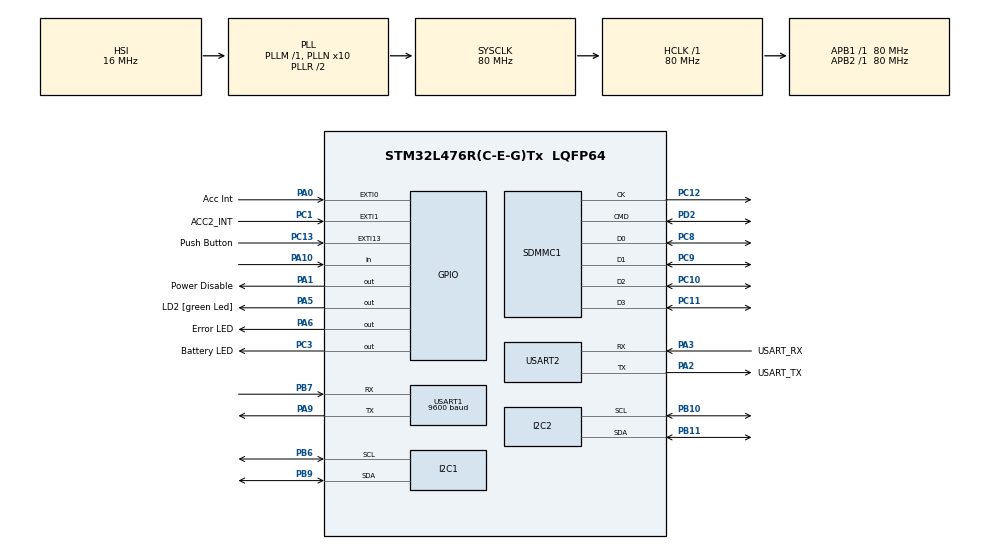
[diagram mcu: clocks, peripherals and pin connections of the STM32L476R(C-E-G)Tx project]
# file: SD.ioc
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ADC1.Channel-1\#ChannelRegularConversion=ADC_CHANNEL_VBAT
ADC1.ClockPrescaler=ADC_CLOCK_ASYNC_DIV1
ADC1.NbrOfConversion=1
ADC1.NbrOfConversionFlag=1
ADC1.OffsetNumber-1\#ChannelRegularConversion=ADC_OFFSET_NONE
ADC1.Rank-1\#ChannelRegularConversion=1
ADC1.SamplingTime-1\#ChannelRegularConversion=ADC_SAMPLETIME_640CYCLES_5
ADC1.master=1
Dma.Request0=SDMMC1_RX
Dma.Request1=SDMMC1_TX
Dma.SDMMC1_RX.0.Direction=DMA_PERIPH_TO_MEMORY
Dma.SDMMC1_RX.0.Instance=DMA2_Channel5
Dma.SDMMC1_RX.0.MemDataAlignment=DMA_MDATAALIGN_WORD
Dma.SDMMC1_RX.0.MemInc=DMA_MINC_ENABLE
Dma.SDMMC1_RX.0.Mode=DMA_NORMAL
Dma.SDMMC1_RX.0.PeriphDataAlignment=DMA_PDATAALIGN_WORD
Dma.SDMMC1_RX.0.PeriphInc=DMA_PINC_DISABLE
Dma.SDMMC1_RX.0.Priority=DMA_PRIORITY_LOW
Dma.SDMMC1_TX.1.Direction=DMA_MEMORY_TO_PERIPH
Dma.SDMMC1_TX.1.Instance=DMA2_Channel4
Dma.SDMMC1_TX.1.MemDataAlignment=DMA_MDATAALIGN_WORD
Dma.SDMMC1_TX.1.MemInc=DMA_MINC_ENABLE
Dma.SDMMC1_TX.1.Mode=DMA_NORMAL
Dma.SDMMC1_TX.1.PeriphDataAlignment=DMA_PDATAALIGN_WORD
Dma.SDMMC1_TX.1.PeriphInc=DMA_PINC_DISABLE
Dma.SDMMC1_TX.1.Priority=DMA_PRIORITY_LOW
FATFS.BSP.number=1
FATFS.USE_DMA_CODE_SD=1
FATFS._FS_EXFAT=1
FATFS._FS_TINY=0
FATFS._USE_LFN=3
FATFS0.BSP.STBoard=false
FATFS0.BSP.api=Unknown
FATFS0.BSP.instance=PA10
FATFS0.BSP.ip=GPIO
FATFS0.BSP.mode=Input
FATFS0.BSP.name=Detect_SDIO
FATFS0.BSP.solution=PA10
I2C1.Speed=100
I2C1.Timing=0x10D19CE4
I2C2.Timing=0x10D19CE4
Mcu.Family=STM32L4
Mcu.Name=STM32L476R(C-E-G)Tx
Mcu.Package=LQFP64
NVIC.DMA2_Channel4_IRQn=true\:0\:0\:false\:false\:true\:false\:true\:true
NVIC.DMA2_Channel5_IRQn=true\:0\:0\:false\:false\:true\:false\:true\:true
NVIC.EXTI0_IRQn=true\:0\:0\:false\:false\:true\:true\:true\:true
NVIC.EXTI15_10_IRQn=true\:0\:0\:false\:false\:true\:true\:true\:true
NVIC.EXTI1_IRQn=true\:0\:0\:false\:false\:true\:true\:true\:true
NVIC.I2C1_ER_IRQn=true\:0\:0\:false\:false\:true\:true\:true\:true
NVIC.I2C1_EV_IRQn=true\:0\:0\:false\:false\:true\:true\:true\:true
NVIC.PriorityGroup=NVIC_PRIORITYGROUP_4
NVIC.SDMMC1_IRQn=true\:0\:0\:false\:false\:true\:true\:true\:true
NVIC.TIM2_IRQn=true\:0\:0\:false\:false\:true\:true\:true\:true
NVIC.USART1_IRQn=true\:0\:0\:false\:false\:true\:true\:true\:true
PA0.GPIO_Label=Acc Int
PA0.Signal=GPXTI0
PA1.GPIO_Label=Power Disable
PA1.GPIO_ModeDefaultOutputPP=GPIO_MODE_OUTPUT_OD
PA1.GPIO_PuPd=GPIO_NOPULL
PA1.PinState=GPIO_PIN_SET
PA1.Signal=GPIO_Output
PA10.Signal=GPIO_Input
PA13\ (JTMS-SWDIO).GPIO_Label=TMS
PA13\ (JTMS-SWDIO).Mode=Serial_Wire
PA13\ (JTMS-SWDIO).Signal=SYS_JTMS-SWDIO
PA14\ (JTCK-SWCLK).GPIO_Label=TCK
PA14\ (JTCK-SWCLK).Mode=Serial_Wire
PA14\ (JTCK-SWCLK).Signal=SYS_JTCK-SWCLK
PA2.GPIO_Label=USART_TX
PA2.GPIO_Mode=GPIO_MODE_AF_PP
PA2.GPIO_PuPd=GPIO_NOPULL
PA2.GPIO_Speed=GPIO_SPEED_FREQ_VERY_HIGH
PA2.Mode=Asynchronous
PA2.Signal=USART2_TX
PA3.GPIO_Label=USART_RX
PA3.GPIO_Mode=GPIO_MODE_AF_PP
PA3.GPIO_PuPd=GPIO_NOPULL
PA3.GPIO_Speed=GPIO_SPEED_FREQ_VERY_HIGH
PA3.Mode=Asynchronous
PA3.Signal=USART2_RX
PA5.GPIO_Label=LD2 [green Led]
PA5.GPIO_ModeDefaultOutputPP=GPIO_MODE_OUTPUT_PP
PA5.GPIO_PuPd=GPIO_NOPULL
PA5.GPIO_Speed=GPIO_SPEED_FREQ_LOW
PA5.Signal=GPIO_Output
PA6.GPIO_Label=Error LED
PA6.Signal=GPIO_Output
PA9.Mode=Asynchronous
PA9.Signal=USART1_TX
PB10.GPIO_Pu=GPIO_NOPULL
PB10.Mode=I2C
PB10.Signal=I2C2_SCL
PB11.GPIO_Pu=GPIO_NOPULL
PB11.Mode=I2C
PB11.Signal=I2C2_SDA
PB3\ (JTDO-TRACESWO).GPIO_Label=SWO
PB3\ (JTDO-TRACESWO).Signal=SYS_JTDO-SWO
PB6.GPIO_Pu=GPIO_NOPULL
PB6.Mode=I2C
PB6.Signal=I2C1_SCL
PB7.Mode=Asynchronous
PB7.Signal=USART1_RX
PB9.GPIO_Pu=GPIO_NOPULL
PB9.Mode=I2C
PB9.Signal=I2C1_SDA
PC1.GPIO_Label=ACC2_INT
PC1.GPIO_ModeDefaultEXTI=GPIO_MODE_IT_RISING_FALLING
PC1.Signal=GPXTI1
PC10.Mode=SD_4_bits_Wide_bus
PC10.Signal=SDMMC1_D2
PC11.Mode=SD_4_bits_Wide_bus
PC11.Signal=SDMMC1_D3
PC12.Mode=SD_4_bits_Wide_bus
PC12.Signal=SDMMC1_CK
PC13.GPIO_Label=Push Button
PC13.GPIO_PuPd=GPIO_NOPULL
PC13.Signal=GPXTI13
PC14-OSC32_IN\ (PC14).Mode=LSE-External-Oscillator
PC14-OSC32_IN\ (PC14).Signal=RCC_OSC32_IN
PC15-OSC32_OUT\ (PC15).Mode=LSE-External-Oscillator
PC15-OSC32_OUT\ (PC15).Signal=RCC_OSC32_OUT
PC3.GPIO_Label=Battery LED
PC3.Signal=GPIO_Output
PC8.Mode=SD_4_bits_Wide_bus
PC8.Signal=SDMMC1_D0
PC9.Mode=SD_4_bits_Wide_bus
PC9.Signal=SDMMC1_D1
PD2.Mode=SD_4_bits_Wide_bus
PD2.Signal=SDMMC1_CMD
PH0-OSC_IN\ (PH0).Mode=HSE-External-Oscillator
PH0-OSC_IN\ (PH0).Signal=RCC_OSC_IN
PH1-OSC_OUT\ (PH1).Mode=HSE-External-Oscillator
PH1-OSC_OUT\ (PH1).Signal=RCC_OSC_OUT
ProjectManager.HeapSize=0x400
ProjectManager.StackSize=0x800
ProjectManager.TargetToolchain=STM32CubeIDE
RCC.ADCFreq_Value=64000000
RCC.AHBFreq_Value=80000000
RCC.APB1Freq_Value=80000000
RCC.APB1TimFreq_Value=80000000
RCC.APB2Freq_Value=80000000
RCC.APB2TimFreq_Value=80000000
RCC.CortexFreq_Value=80000000
RCC.HCLKFreq_Value=80000000
RCC.HSE_VALUE=8000000
RCC.HSI_VALUE=16000000
RCC.MSI_VALUE=4000000
RCC.PLLN=10
RCC.PLLSAI1Q=RCC_PLLQ_DIV4
RCC.PLLSourceVirtual=RCC_PLLSOURCE_HSI
RCC.PREFETCH_ENABLE=1
RCC.SYSCLKFreq_VALUE=80000000
RCC.SYSCLKSource=RCC_SYSCLKSOURCE_PLLCLK
RCC.USBFreq_Value=32000000
RCC.VCOOutputFreq_Value=160000000
RTC.Date=10
RTC.Format=RTC_FORMAT_BIN
RTC.HourFormat=RTC_HOURFORMAT_12
RTC.Hours=1
RTC.Minutes=0
RTC.Month=RTC_MONTH_JUNE
RTC.Seconds=30
RTC.TimeFormat=RTC_HOURFORMAT12_PM
RTC.WeekDay=RTC_WEEKDAY_TUESDAY
RTC.Year=25
SDMMC1.ClockDiv=0
TIM2.AutoReloadPreload=TIM_AUTORELOAD_PRELOAD_ENABLE
USART1.BaudRate=9600
USART1.VirtualMode-Asynchronous=VM_ASYNC
USART2.VirtualMode-Asynchronous=VM_ASYNC
VP_ADC1_Vbat_Input.Mode=IN-Vbat
VP_FATFS_VS_SDIO.Mode=SDIO
VP_RTC_VS_RTC_Activate.Mode=RTC_Enabled
VP_RTC_VS_RTC_Calendar.Mode=RTC_Calendar
VP_TIM2_VS_ClockSourceINT.Mode=Internal
board=NUCLEO-L476RG

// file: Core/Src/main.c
/* USER CODE BEGIN Header */
/* USER CODE END Header */
#include "main.h"
#include "fatfs.h"

/* USER CODE BEGIN Includes */
#include "logger.h"
/* USER CODE END Includes */

/* USER CODE BEGIN PD */
#ifdef __GNUC__
#define PUTCHAR_PROTOTYPE int __io_putchar(int ch)
#else
#define PUTCHAR_PROTOTYPE int fputc(int ch, FILE *f)
#endif
/* USER CODE END PD */

ADC_HandleTypeDef hadc1;

I2C_HandleTypeDef hi2c1;
I2C_HandleTypeDef hi2c2;

RTC_HandleTypeDef hrtc;

SD_HandleTypeDef hsd1;
DMA_HandleTypeDef hdma_sdmmc1_rx;
DMA_HandleTypeDef hdma_sdmmc1_tx;

TIM_HandleTypeDef htim2;

UART_HandleTypeDef huart1;
UART_HandleTypeDef huart2;

/* USER CODE BEGIN PV */
DMA_HandleTypeDef hdma_sdmmc1;
/* USER CODE END PV */

void SystemClock_Config(void);
void PeriphCommonClock_Config(void);
static void MX_GPIO_Init(void);
static void MX_DMA_Init(void);
static void MX_SDMMC1_SD_Init(void);
static void MX_RTC_Init(void);
static void MX_ADC1_Init(void);
static void MX_USART2_UART_Init(void);
static void MX_USART1_UART_Init(void);
static void MX_I2C1_Init(void);
static void MX_I2C2_Init(void);
static void MX_TIM2_Init(void);
/* USER CODE BEGIN PFP */
PUTCHAR_PROTOTYPE
{
	ITM_SendChar(ch);
	return (ch);
}

int _write(int file, char *ptr, int len)
{
	int DataIdx;

	for (DataIdx = 0; DataIdx < len; DataIdx++)
	{
		__io_putchar(*ptr++);
	}
	return len;
}

uint8_t BSP_SD_IsDetected(void)
{
  __IO uint8_t status = SD_PRESENT;

  if (BSP_PlatformIsDetected() == 0x1)
  {
    status = SD_NOT_PRESENT;
  }

  return status;
}

HAL_StatusTypeDef SD_DMAConfigRx(SD_HandleTypeDef *hsd);
HAL_StatusTypeDef SD_DMAConfigTx(SD_HandleTypeDef *hsd);

uint8_t BSP_SD_ReadBlocks_DMA(uint32_t *pData, uint32_t ReadAddr, uint32_t NumOfBlocks)
{
	uint8_t sd_state = MSD_OK;
  /* Invalidate the dma tx handle*/
  hsd1.hdmatx = NULL;

  /* Prepare the dma channel for a read operation */
  sd_state = SD_DMAConfigRx(&hsd1);

  if(sd_state == HAL_OK)
  {
	   /* Read block(s) in DMA transfer mode */
		sd_state = HAL_SD_ReadBlocks_DMA(&hsd1, (uint8_t *)pData, ReadAddr, NumOfBlocks);
  }

  if( sd_state == HAL_OK)
  {
	return MSD_OK;
  }
  else
  {
	return MSD_ERROR;
  }
}

uint8_t BSP_SD_WriteBlocks_DMA(uint32_t *pData, uint32_t WriteAddr, uint32_t NumOfBlocks)
{
	uint8_t sd_state = MSD_OK;

	  // Invalidate the dma rx handle
	  hsd1.hdmarx = NULL;

	  // Prepare the dma channel for a read operation
	  sd_state = SD_DMAConfigTx(&hsd1);

	  if(sd_state == HAL_OK)
	  {
		/* Write block(s) in DMA transfer mode */
		sd_state = HAL_SD_WriteBlocks_DMA(&hsd1, (uint8_t *)pData, WriteAddr, NumOfBlocks);
	  }

	  if( sd_state == HAL_OK)
	  {
		return MSD_OK;
	  }
	  else
	  {
		return MSD_ERROR;
	  }

	  return sd_state;
}

void HAL_GPIO_EXTI_Callback(uint16_t GPIO_Pin) {
	if (GPIO_Pin == ACC2_INT_Pin)
		bmi270_drdy_irq_handler();
 }
/* USER CODE END PFP */

int main(void)
{

  /* MCU Configuration--------------------------------------------------------*/

  /* Reset of all peripherals, Initializes the Flash interface and the Systick. */
  HAL_Init();

  /* Configure the system clock */
  SystemClock_Config();

  /* Configure the peripherals common clocks */
  PeriphCommonClock_Config();

  /* Initialize all configured peripherals */
  MX_GPIO_Init();
  MX_DMA_Init();
  MX_SDMMC1_SD_Init();
  MX_FATFS_Init();
  MX_RTC_Init();
  MX_ADC1_Init();
  MX_USART2_UART_Init();
  MX_USART1_UART_Init();
  MX_I2C1_Init();
  MX_I2C2_Init();
  MX_TIM2_Init();

  /* Infinite loop */
  /* USER CODE BEGIN WHILE */
  HAL_GPIO_WritePin(Power_Disable_GPIO_Port, Power_Disable_Pin, GPIO_PIN_RESET);
  logger_start();
    /* USER CODE END WHILE */

}

void SystemClock_Config(void)
{
  RCC_OscInitTypeDef RCC_OscInitStruct = {0};
  RCC_ClkInitTypeDef RCC_ClkInitStruct = {0};

  /** Configure the main internal regulator output voltage
  */
  if (HAL_PWREx_ControlVoltageScaling(PWR_REGULATOR_VOLTAGE_SCALE1) != HAL_OK)
  {
    Error_Handler();
  }

  /** Initializes the RCC Oscillators according to the specified parameters
  * in the RCC_OscInitTypeDef structure.
  */
  RCC_OscInitStruct.OscillatorType = RCC_OSCILLATORTYPE_HSI|RCC_OSCILLATORTYPE_LSI;
  RCC_OscInitStruct.HSIState = RCC_HSI_ON;
  RCC_OscInitStruct.HSICalibrationValue = RCC_HSICALIBRATION_DEFAULT;
  RCC_OscInitStruct.LSIState = RCC_LSI_ON;
  RCC_OscInitStruct.PLL.PLLState = RCC_PLL_ON;
  RCC_OscInitStruct.PLL.PLLSource = RCC_PLLSOURCE_HSI;
  RCC_OscInitStruct.PLL.PLLM = 1;
  RCC_OscInitStruct.PLL.PLLN = 10;
  RCC_OscInitStruct.PLL.PLLP = RCC_PLLP_DIV7;
  RCC_OscInitStruct.PLL.PLLQ = RCC_PLLQ_DIV2;
  RCC_OscInitStruct.PLL.PLLR = RCC_PLLR_DIV2;
  if (HAL_RCC_OscConfig(&RCC_OscInitStruct) != HAL_OK)
  {
    Error_Handler();
  }

  /** Initializes the CPU, AHB and APB buses clocks
  */
  RCC_ClkInitStruct.ClockType = RCC_CLOCKTYPE_HCLK|RCC_CLOCKTYPE_SYSCLK
                              |RCC_CLOCKTYPE_PCLK1|RCC_CLOCKTYPE_PCLK2;
  RCC_ClkInitStruct.SYSCLKSource = RCC_SYSCLKSOURCE_PLLCLK;
  RCC_ClkInitStruct.AHBCLKDivider = RCC_SYSCLK_DIV1;
  RCC_ClkInitStruct.APB1CLKDivider = RCC_HCLK_DIV1;
  RCC_ClkInitStruct.APB2CLKDivider = RCC_HCLK_DIV1;

  if (HAL_RCC_ClockConfig(&RCC_ClkInitStruct, FLASH_LATENCY_4) != HAL_OK)
  {
    Error_Handler();
  }
}

void PeriphCommonClock_Config(void)
{
  RCC_PeriphCLKInitTypeDef PeriphClkInit = {0};

  /** Initializes the peripherals clock
  */
  PeriphClkInit.PeriphClockSelection = RCC_PERIPHCLK_SDMMC1|RCC_PERIPHCLK_ADC;
  PeriphClkInit.AdcClockSelection = RCC_ADCCLKSOURCE_PLLSAI1;
  PeriphClkInit.Sdmmc1ClockSelection = RCC_SDMMC1CLKSOURCE_PLLSAI1;
  PeriphClkInit.PLLSAI1.PLLSAI1Source = RCC_PLLSOURCE_HSI;
  PeriphClkInit.PLLSAI1.PLLSAI1M = 1;
  PeriphClkInit.PLLSAI1.PLLSAI1N = 8;
  PeriphClkInit.PLLSAI1.PLLSAI1P = RCC_PLLP_DIV7;
  PeriphClkInit.PLLSAI1.PLLSAI1Q = RCC_PLLQ_DIV4;
  PeriphClkInit.PLLSAI1.PLLSAI1R = RCC_PLLR_DIV2;
  PeriphClkInit.PLLSAI1.PLLSAI1ClockOut = RCC_PLLSAI1_48M2CLK|RCC_PLLSAI1_ADC1CLK;
  if (HAL_RCCEx_PeriphCLKConfig(&PeriphClkInit) != HAL_OK)
  {
    Error_Handler();
  }
}

static void MX_ADC1_Init(void)
{

  ADC_MultiModeTypeDef multimode = {0};
  ADC_ChannelConfTypeDef sConfig = {0};

  /** Common config
  */
  hadc1.Instance = ADC1;
  hadc1.Init.ClockPrescaler = ADC_CLOCK_ASYNC_DIV1;
  hadc1.Init.Resolution = ADC_RESOLUTION_12B;
  hadc1.Init.DataAlign = ADC_DATAALIGN_RIGHT;
  hadc1.Init.ScanConvMode = ADC_SCAN_DISABLE;
  hadc1.Init.EOCSelection = ADC_EOC_SINGLE_CONV;
  hadc1.Init.LowPowerAutoWait = DISABLE;
  hadc1.Init.ContinuousConvMode = DISABLE;
  hadc1.Init.NbrOfConversion = 1;
  hadc1.Init.DiscontinuousConvMode = DISABLE;
  hadc1.Init.ExternalTrigConv = ADC_SOFTWARE_START;
  hadc1.Init.ExternalTrigConvEdge = ADC_EXTERNALTRIGCONVEDGE_NONE;
  hadc1.Init.DMAContinuousRequests = DISABLE;
  hadc1.Init.Overrun = ADC_OVR_DATA_PRESERVED;
  hadc1.Init.OversamplingMode = DISABLE;
  if (HAL_ADC_Init(&hadc1) != HAL_OK)
  {
    Error_Handler();
  }

  /** Configure the ADC multi-mode
  */
  multimode.Mode = ADC_MODE_INDEPENDENT;
  if (HAL_ADCEx_MultiModeConfigChannel(&hadc1, &multimode) != HAL_OK)
  {
    Error_Handler();
  }

  /** Configure Regular Channel
  */
  sConfig.Channel = ADC_CHANNEL_VBAT;
  sConfig.Rank = ADC_REGULAR_RANK_1;
  sConfig.SamplingTime = ADC_SAMPLETIME_640CYCLES_5;
  sConfig.SingleDiff = ADC_SINGLE_ENDED;
  sConfig.OffsetNumber = ADC_OFFSET_NONE;
  sConfig.Offset = 0;
  if (HAL_ADC_ConfigChannel(&hadc1, &sConfig) != HAL_OK)
  {
    Error_Handler();
  }

}

static void MX_I2C1_Init(void)
{

  hi2c1.Instance = I2C1;
  hi2c1.Init.Timing = 0x10D19CE4;
  hi2c1.Init.OwnAddress1 = 0;
  hi2c1.Init.AddressingMode = I2C_ADDRESSINGMODE_7BIT;
  hi2c1.Init.DualAddressMode = I2C_DUALADDRESS_DISABLE;
  hi2c1.Init.OwnAddress2 = 0;
  hi2c1.Init.OwnAddress2Masks = I2C_OA2_NOMASK;
  hi2c1.Init.GeneralCallMode = I2C_GENERALCALL_DISABLE;
  hi2c1.Init.NoStretchMode = I2C_NOSTRETCH_DISABLE;
  if (HAL_I2C_Init(&hi2c1) != HAL_OK)
  {
    Error_Handler();
  }

  /** Configure Analogue filter
  */
  if (HAL_I2CEx_ConfigAnalogFilter(&hi2c1, I2C_ANALOGFILTER_ENABLE) != HAL_OK)
  {
    Error_Handler();
  }

  /** Configure Digital filter
  */
  if (HAL_I2CEx_ConfigDigitalFilter(&hi2c1, 0) != HAL_OK)
  {
    Error_Handler();
  }

}

static void MX_I2C2_Init(void)
{

  hi2c2.Instance = I2C2;
  hi2c2.Init.Timing = 0x10D19CE4;
  hi2c2.Init.OwnAddress1 = 0;
  hi2c2.Init.AddressingMode = I2C_ADDRESSINGMODE_7BIT;
  hi2c2.Init.DualAddressMode = I2C_DUALADDRESS_DISABLE;
  hi2c2.Init.OwnAddress2 = 0;
  hi2c2.Init.OwnAddress2Masks = I2C_OA2_NOMASK;
  hi2c2.Init.GeneralCallMode = I2C_GENERALCALL_DISABLE;
  hi2c2.Init.NoStretchMode = I2C_NOSTRETCH_DISABLE;
  if (HAL_I2C_Init(&hi2c2) != HAL_OK)
  {
    Error_Handler();
  }

  /** Configure Analogue filter
  */
  if (HAL_I2CEx_ConfigAnalogFilter(&hi2c2, I2C_ANALOGFILTER_ENABLE) != HAL_OK)
  {
    Error_Handler();
  }

  /** Configure Digital filter
  */
  if (HAL_I2CEx_ConfigDigitalFilter(&hi2c2, 0) != HAL_OK)
  {
    Error_Handler();
  }

}

static void MX_RTC_Init(void)
{

  RTC_TimeTypeDef sTime = {0};
  RTC_DateTypeDef sDate = {0};

  /** Initialize RTC Only
  */
  hrtc.Instance = RTC;
  hrtc.Init.HourFormat = RTC_HOURFORMAT_12;
  hrtc.Init.AsynchPrediv = 127;
  hrtc.Init.SynchPrediv = 255;
  hrtc.Init.OutPut = RTC_OUTPUT_DISABLE;
  hrtc.Init.OutPutRemap = RTC_OUTPUT_REMAP_NONE;
  hrtc.Init.OutPutPolarity = RTC_OUTPUT_POLARITY_HIGH;
  hrtc.Init.OutPutType = RTC_OUTPUT_TYPE_OPENDRAIN;
  if (HAL_RTC_Init(&hrtc) != HAL_OK)
  {
    Error_Handler();
  }

  /** Initialize RTC and set the Time and Date
  */
  sTime.Hours = 1;
  sTime.Minutes = 0;
  sTime.Seconds = 30;
  sTime.TimeFormat = RTC_HOURFORMAT12_PM;
  sTime.DayLightSaving = RTC_DAYLIGHTSAVING_NONE;
  sTime.StoreOperation = RTC_STOREOPERATION_RESET;
  if (HAL_RTC_SetTime(&hrtc, &sTime, RTC_FORMAT_BIN) != HAL_OK)
  {
    Error_Handler();
  }
  sDate.WeekDay = RTC_WEEKDAY_TUESDAY;
  sDate.Month = RTC_MONTH_JUNE;
  sDate.Date = 10;
  sDate.Year = 25;

  if (HAL_RTC_SetDate(&hrtc, &sDate, RTC_FORMAT_BIN) != HAL_OK)
  {
    Error_Handler();
  }

}

static void MX_SDMMC1_SD_Init(void)
{

  hsd1.Instance = SDMMC1;
  hsd1.Init.ClockEdge = SDMMC_CLOCK_EDGE_RISING;
  hsd1.Init.ClockBypass = SDMMC_CLOCK_BYPASS_DISABLE;
  hsd1.Init.ClockPowerSave = SDMMC_CLOCK_POWER_SAVE_DISABLE;
  hsd1.Init.BusWide = SDMMC_BUS_WIDE_4B;
  hsd1.Init.HardwareFlowControl = SDMMC_HARDWARE_FLOW_CONTROL_DISABLE;
  hsd1.Init.ClockDiv = 0;

}

static void MX_TIM2_Init(void)
{

  TIM_ClockConfigTypeDef sClockSourceConfig = {0};
  TIM_MasterConfigTypeDef sMasterConfig = {0};

  htim2.Instance = TIM2;
  htim2.Init.Prescaler = 0;
  htim2.Init.CounterMode = TIM_COUNTERMODE_UP;
  htim2.Init.Period = 4294967295;
  htim2.Init.ClockDivision = TIM_CLOCKDIVISION_DIV1;
  htim2.Init.AutoReloadPreload = TIM_AUTORELOAD_PRELOAD_ENABLE;
  if (HAL_TIM_Base_Init(&htim2) != HAL_OK)
  {
    Error_Handler();
  }
  sClockSourceConfig.ClockSource = TIM_CLOCKSOURCE_INTERNAL;
  if (HAL_TIM_ConfigClockSource(&htim2, &sClockSourceConfig) != HAL_OK)
  {
    Error_Handler();
  }
  sMasterConfig.MasterOutputTrigger = TIM_TRGO_RESET;
  sMasterConfig.MasterSlaveMode = TIM_MASTERSLAVEMODE_DISABLE;
  if (HAL_TIMEx_MasterConfigSynchronization(&htim2, &sMasterConfig) != HAL_OK)
  {
    Error_Handler();
  }

}

static void MX_USART1_UART_Init(void)
{

  huart1.Instance = USART1;
  huart1.Init.BaudRate = 9600;
  huart1.Init.WordLength = UART_WORDLENGTH_8B;
  huart1.Init.StopBits = UART_STOPBITS_1;
  huart1.Init.Parity = UART_PARITY_NONE;
  huart1.Init.Mode = UART_MODE_TX_RX;
  huart1.Init.HwFlowCtl = UART_HWCONTROL_NONE;
  huart1.Init.OverSampling = UART_OVERSAMPLING_16;
  huart1.Init.OneBitSampling = UART_ONE_BIT_SAMPLE_DISABLE;
  huart1.AdvancedInit.AdvFeatureInit = UART_ADVFEATURE_NO_INIT;
  if (HAL_UART_Init(&huart1) != HAL_OK)
  {
    Error_Handler();
  }

}

static void MX_USART2_UART_Init(void)
{

  huart2.Instance = USART2;
  huart2.Init.BaudRate = 115200;
  huart2.Init.WordLength = UART_WORDLENGTH_8B;
  huart2.Init.StopBits = UART_STOPBITS_1;
  huart2.Init.Parity = UART_PARITY_NONE;
  huart2.Init.Mode = UART_MODE_TX_RX;
  huart2.Init.HwFlowCtl = UART_HWCONTROL_NONE;
  huart2.Init.OverSampling = UART_OVERSAMPLING_16;
  huart2.Init.OneBitSampling = UART_ONE_BIT_SAMPLE_DISABLE;
  huart2.AdvancedInit.AdvFeatureInit = UART_ADVFEATURE_NO_INIT;
  if (HAL_UART_Init(&huart2) != HAL_OK)
  {
    Error_Handler();
  }

}

static void MX_DMA_Init(void)
{

  /* DMA controller clock enable */
  __HAL_RCC_DMA2_CLK_ENABLE();

  /* DMA interrupt init */
  /* DMA2_Channel4_IRQn interrupt configuration */
  HAL_NVIC_SetPriority(DMA2_Channel4_IRQn, 0, 0);
  HAL_NVIC_EnableIRQ(DMA2_Channel4_IRQn);
  /* DMA2_Channel5_IRQn interrupt configuration */
  HAL_NVIC_SetPriority(DMA2_Channel5_IRQn, 0, 0);
  HAL_NVIC_EnableIRQ(DMA2_Channel5_IRQn);

}

static void MX_GPIO_Init(void)
{
  GPIO_InitTypeDef GPIO_InitStruct = {0};

  /* GPIO Ports Clock Enable */
  __HAL_RCC_GPIOC_CLK_ENABLE();
  __HAL_RCC_GPIOH_CLK_ENABLE();
  __HAL_RCC_GPIOA_CLK_ENABLE();
  __HAL_RCC_GPIOB_CLK_ENABLE();
  __HAL_RCC_GPIOD_CLK_ENABLE();

  /*Configure GPIO pin Output Level */
  HAL_GPIO_WritePin(Battery_LED_GPIO_Port, Battery_LED_Pin, GPIO_PIN_RESET);

  /*Configure GPIO pin Output Level */
  HAL_GPIO_WritePin(Power_Disable_GPIO_Port, Power_Disable_Pin, GPIO_PIN_SET);

  /*Configure GPIO pin Output Level */
  HAL_GPIO_WritePin(GPIOA, LD2_Pin|Error_LED_Pin, GPIO_PIN_RESET);

  /*Configure GPIO pin : Push_Button_Pin */
  GPIO_InitStruct.Pin = Push_Button_Pin;
  GPIO_InitStruct.Mode = GPIO_MODE_IT_RISING;
  GPIO_InitStruct.Pull = GPIO_NOPULL;
  HAL_GPIO_Init(Push_Button_GPIO_Port, &GPIO_InitStruct);

  /*Configure GPIO pin : ACC2_INT_Pin */
  GPIO_InitStruct.Pin = ACC2_INT_Pin;
  GPIO_InitStruct.Mode = GPIO_MODE_IT_RISING_FALLING;
  GPIO_InitStruct.Pull = GPIO_NOPULL;
  HAL_GPIO_Init(ACC2_INT_GPIO_Port, &GPIO_InitStruct);

  /*Configure GPIO pin : Battery_LED_Pin */
  GPIO_InitStruct.Pin = Battery_LED_Pin;
  GPIO_InitStruct.Mode = GPIO_MODE_OUTPUT_PP;
  GPIO_InitStruct.Pull = GPIO_NOPULL;
  GPIO_InitStruct.Speed = GPIO_SPEED_FREQ_LOW;
  HAL_GPIO_Init(Battery_LED_GPIO_Port, &GPIO_InitStruct);

  /*Configure GPIO pin : Acc_Int_Pin */
  GPIO_InitStruct.Pin = Acc_Int_Pin;
  GPIO_InitStruct.Mode = GPIO_MODE_IT_RISING;
  GPIO_InitStruct.Pull = GPIO_NOPULL;
  HAL_GPIO_Init(Acc_Int_GPIO_Port, &GPIO_InitStruct);

  /*Configure GPIO pin : Power_Disable_Pin */
  GPIO_InitStruct.Pin = Power_Disable_Pin;
  GPIO_InitStruct.Mode = GPIO_MODE_OUTPUT_OD;
  GPIO_InitStruct.Pull = GPIO_NOPULL;
  GPIO_InitStruct.Speed = GPIO_SPEED_FREQ_LOW;
  HAL_GPIO_Init(Power_Disable_GPIO_Port, &GPIO_InitStruct);

  /*Configure GPIO pins : LD2_Pin Error_LED_Pin */
  GPIO_InitStruct.Pin = LD2_Pin|Error_LED_Pin;
  GPIO_InitStruct.Mode = GPIO_MODE_OUTPUT_PP;
  GPIO_InitStruct.Pull = GPIO_NOPULL;
  GPIO_InitStruct.Speed = GPIO_SPEED_FREQ_LOW;
  HAL_GPIO_Init(GPIOA, &GPIO_InitStruct);

  /*Configure GPIO pin : PA10 */
  GPIO_InitStruct.Pin = GPIO_PIN_10;
  GPIO_InitStruct.Mode = GPIO_MODE_INPUT;
  GPIO_InitStruct.Pull = GPIO_NOPULL;
  HAL_GPIO_Init(GPIOA, &GPIO_InitStruct);

  /* EXTI interrupt init*/
  HAL_NVIC_SetPriority(EXTI0_IRQn, 0, 0);
  HAL_NVIC_EnableIRQ(EXTI0_IRQn);

  HAL_NVIC_SetPriority(EXTI1_IRQn, 0, 0);
  HAL_NVIC_EnableIRQ(EXTI1_IRQn);

  HAL_NVIC_SetPriority(EXTI15_10_IRQn, 0, 0);
  HAL_NVIC_EnableIRQ(EXTI15_10_IRQn);

}

void Error_Handler(void)
{
  /* USER CODE BEGIN Error_Handler_Debug */
  /* User can add his own implementation to report the HAL error return state */
	HAL_GPIO_WritePin(GPIOA, Error_LED_Pin, GPIO_PIN_SET);
  while (1)
  {
  }
  /* USER CODE END Error_Handler_Debug */
}
